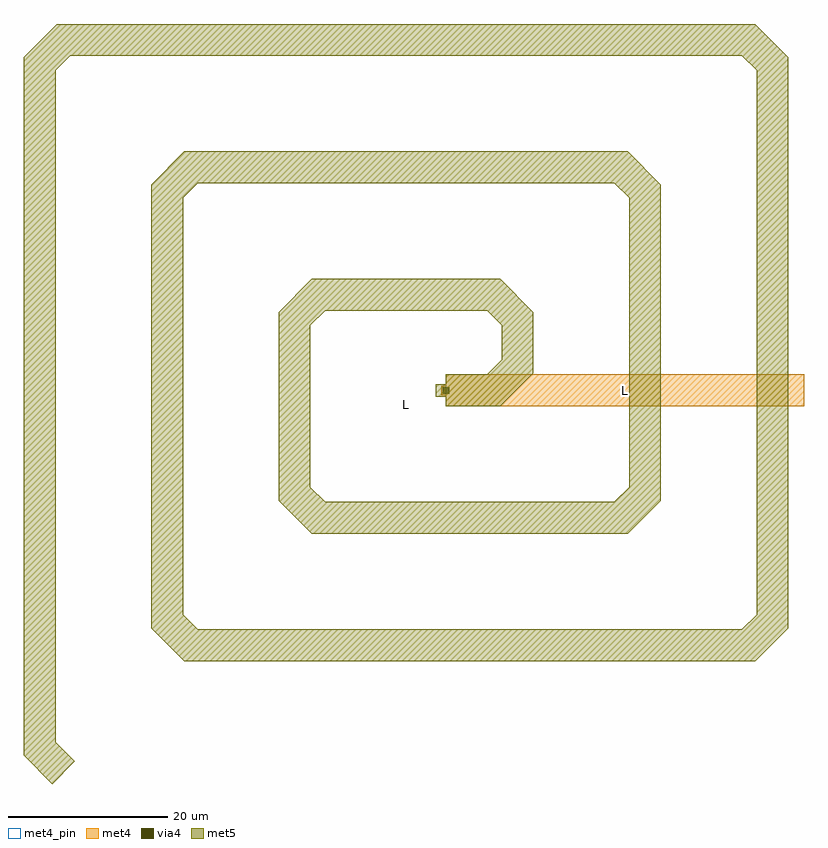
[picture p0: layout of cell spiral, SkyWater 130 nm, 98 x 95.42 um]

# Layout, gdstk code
import gdstk
lib = gdstk.Library(unit=1e-6, precision=1e-09)
def R(c, l, rs):  # rectangles x0, y0, x1, y1
    for r in rs: c.add(gdstk.rectangle(r[:2], r[2:], *l))
def P(c, l, *ps):  # polygons
    for p in ps: c.add(gdstk.Polygon(p, *l))
met4_pin = (71, 16)
met4 = (71, 20)
via4 = (71, 44)
met5 = (72, 20)

spiral = lib.new_cell('spiral')
R(spiral, met4_pin, [(0,-2,45,2)])
R(spiral, met4, [(0,-2,45,2), (-0.59,-0.59,0.59,0.59)])
R(spiral, via4, [(-0.4,-0.4,0.4,0.4)])
R(spiral, met5, [(-1.25,-0.8,1.25,0.8)])
P(spiral, met5, [(-49.415,-49.415),(-53,-45.83),(-53,41.83),(-48.83,46),(38.83,46),(43,41.83),(43,-29.83),(38.83,-34),(-32.83,-34),(-37,-29.83),(-37,25.83),(-32.83,30),(22.83,30),(27,25.83),(27,-13.83),(22.83,-18),(-16.83,-18),(-21,-13.83),(-21,9.83),(-16.83,14),(6.83,14),(11,9.83),(11,2.17),(6.83,-2),(0,-2),(0,2),(5.17,2),(7,3.83),(7,8.17),(5.17,10),(-15.17,10),(-17,8.17),(-17,-12.17),(-15.17,-14),(21.17,-14),(23,-12.17),(23,24.17),(21.17,26),(-31.17,26),(-33,24.17),(-33,-28.17),(-31.17,-30),(37.17,-30),(39,-28.17),(39,40.17),(37.17,42),(-47.17,42),(-49,40.17),(-49,-44.17),(-46.585,-46.585)])
spiral.add(gdstk.Label('L', (22.5,0), layer=71, texttype=16))
spiral.add(gdstk.Label('L', (22.5,0), layer=71, texttype=5))
spiral.add(gdstk.Label('L', (-5,-1.71), layer=72, texttype=5))

lib.write_gds('spiral.gds')
